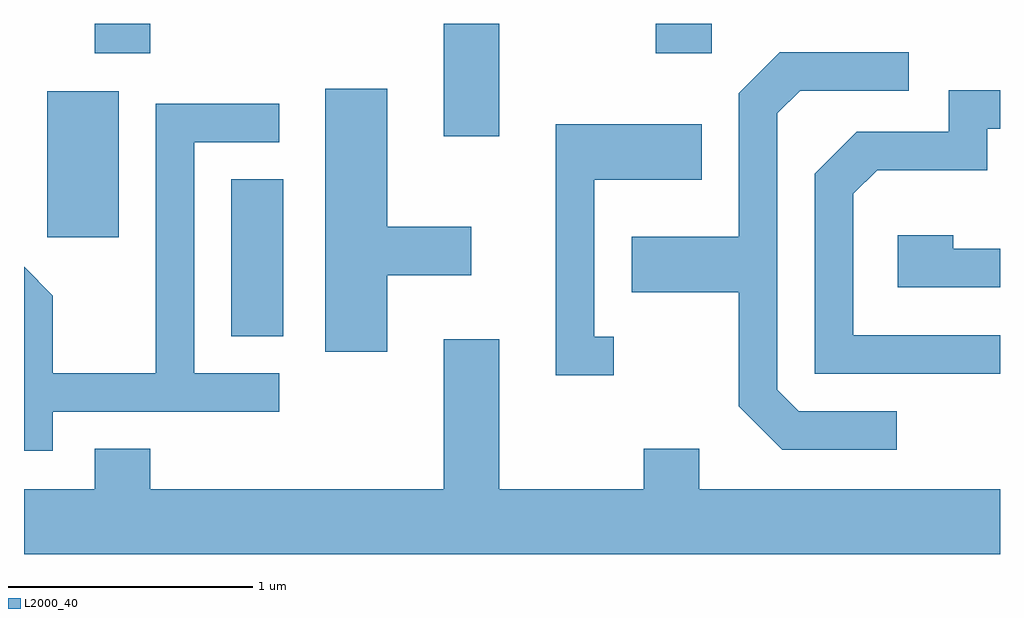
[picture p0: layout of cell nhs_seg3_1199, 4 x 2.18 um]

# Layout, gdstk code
import gdstk
lib = gdstk.Library(unit=1e-6, precision=1e-09)
def R(c, l, rs):  # rectangles x0, y0, x1, y1
    for r in rs: c.add(gdstk.rectangle(r[:2], r[2:], *l))
def P(c, l, *ps):  # polygons
    for p in ps: c.add(gdstk.Polygon(p, *l))
L2000_40 = (2000, 40)

nhs_seg3_1199 = lib.new_cell('nhs_seg3_1199')
R(nhs_seg3_1199, L2000_40, [(220.461,1204.611,220.674,1205.254), (219.706,1205.016,219.999,1205.614), (221.331,1205.431,221.559,1205.892), (219.901,1205.771,220.129,1205.892), (222.201,1205.771,222.429,1205.892)])
P(nhs_seg3_1199, L2000_40, [(223.188,1204.304),(222.787,1204.304),(222.699,1204.392),(222.699,1205.524),(222.792,1205.616),(223.238,1205.616),(223.238,1205.774),(222.709,1205.774),(222.541,1205.607),(222.541,1205.019),(222.101,1205.019),(222.101,1204.791),(222.541,1204.791),(222.541,1204.324),(222.719,1204.146),(223.188,1204.146)],
  [(221.099,1204.861),(221.444,1204.861),(221.444,1205.059),(221.099,1205.059),(221.099,1205.624),(220.846,1205.624),(220.846,1204.546),(221.099,1204.546)],
  [(223.611,1204.614),(223.009,1204.614),(223.009,1205.194),(223.107,1205.291),(223.559,1205.291),(223.559,1205.461),(223.611,1205.461),(223.611,1205.619),(223.401,1205.619),(223.401,1205.449),(223.024,1205.449),(222.851,1205.277),(222.851,1204.456),(223.611,1204.456)],
  [(219.729,1204.301),(220.658,1204.301),(220.658,1204.459),(220.309,1204.459),(220.309,1205.406),(220.658,1205.406),(220.658,1205.564),(220.151,1205.564),(220.151,1204.459),(219.729,1204.459),(219.729,1204.777),(219.611,1204.895),(219.611,1204.141),(219.729,1204.141)],
  [(222.028,1204.609),(221.949,1204.609),(221.949,1205.251),(222.389,1205.251),(222.389,1205.479),(221.791,1205.479),(221.791,1204.451),(222.028,1204.451)],
  [(223.611,1204.969),(223.419,1204.969),(223.419,1205.024),(223.191,1205.024),(223.191,1204.811),(223.611,1204.811)],
  [(223.611,1203.984),(222.379,1203.984),(222.379,1204.149),(222.151,1204.149),(222.151,1203.984),(221.559,1203.984),(221.559,1204.599),(221.331,1204.599),(221.331,1203.984),(220.129,1203.984),(220.129,1204.149),(219.901,1204.149),(219.901,1203.984),(219.611,1203.984),(219.611,1203.716),(223.611,1203.716)])

lib.write_gds('nhs_seg3_1199.gds')
